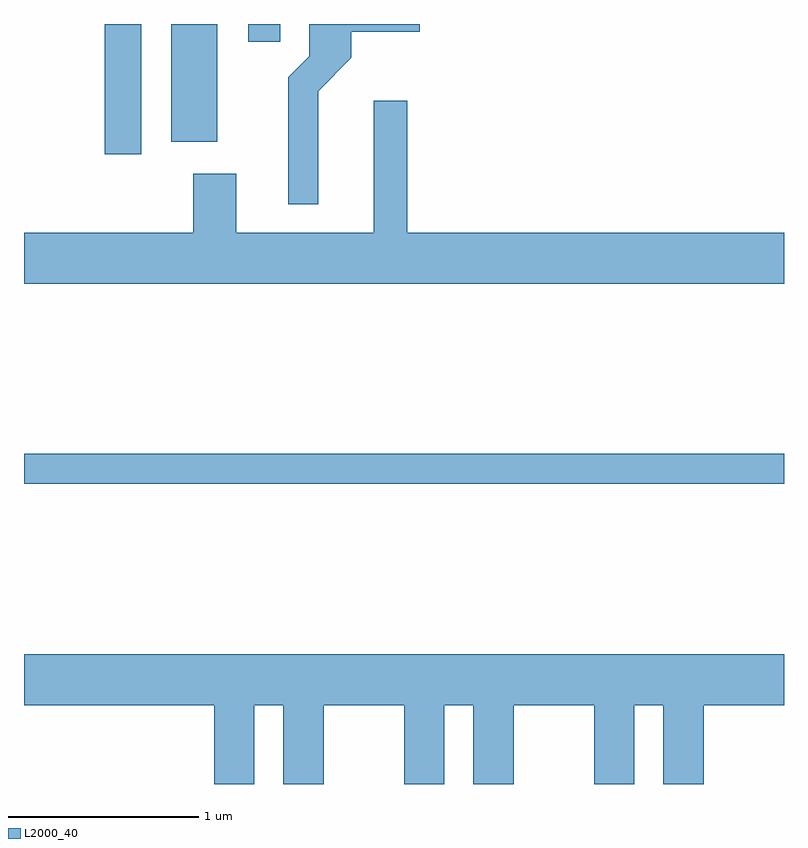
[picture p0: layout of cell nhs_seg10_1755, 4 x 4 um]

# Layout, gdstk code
import gdstk
lib = gdstk.Library(unit=1e-6, precision=1e-09)
def R(c, l, rs):  # rectangles x0, y0, x1, y1
    for r in rs: c.add(gdstk.rectangle(r[:2], r[2:], *l))
def P(c, l, *ps):  # polygons
    for p in ps: c.add(gdstk.Polygon(p, *l))
L2000_40 = (2000, 40)

nhs_seg10_1755 = lib.new_cell('nhs_seg10_1755')
R(nhs_seg10_1755, L2000_40, [(235.611,2206.101,239.611,2206.259), (236.036,2207.836,236.229,2208.522), (236.386,2207.901,236.629,2208.522), (236.791,2208.428,236.959,2208.522)])
P(nhs_seg10_1755, L2000_40, [(237.159,2208.169),(237.334,2208.344),(237.334,2208.481),(237.694,2208.481),(237.694,2208.522),(237.111,2208.522),(237.111,2208.352),(237.001,2208.242),(237.001,2207.573),(237.159,2207.573)],
  [(239.611,2207.424),(237.629,2207.424),(237.629,2208.119),(237.451,2208.119),(237.451,2207.424),(236.729,2207.424),(236.729,2207.734),(236.501,2207.734),(236.501,2207.424),(235.611,2207.424),(235.611,2207.156),(239.611,2207.156)],
  [(236.824,2204.936),(236.976,2204.936),(236.976,2204.522),(237.189,2204.522),(237.189,2204.936),(237.611,2204.936),(237.611,2204.522),(237.824,2204.522),(237.824,2204.936),(237.976,2204.936),(237.976,2204.522),(238.189,2204.522),(238.189,2204.936),(238.611,2204.936),(238.611,2204.522),(238.824,2204.522),(238.824,2204.936),(238.976,2204.936),(238.976,2204.522),(239.189,2204.522),(239.189,2204.936),(239.611,2204.936),(239.611,2205.204),(235.611,2205.204),(235.611,2204.936),(236.611,2204.936),(236.611,2204.522),(236.824,2204.522)])

lib.write_gds('nhs_seg10_1755.gds')
